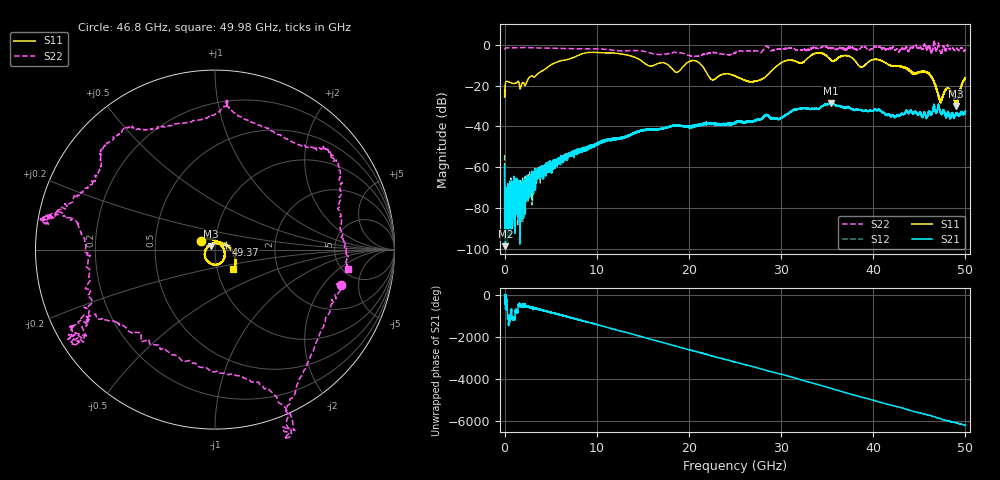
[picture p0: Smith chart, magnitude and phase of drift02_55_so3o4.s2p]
!Created with skrf (http://scikit-rf.org).
# Hz S RI R 50.0
!freq ReS11 ImS11 ReS21 ImS21 ReS12 ImS12 ReS22 ImS22
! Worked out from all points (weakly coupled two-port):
!   10001 points, 300 kHz to 50 GHz, reference 50 ohm
!   highest |S21| = -28.50 dB at 35.38 GHz (marker M1); lowest = -98.8 dB at 95.3 MHz (marker M2)
!   lowest |S11| = -29.9 dB at 48.93 GHz (marker M3), VSWR 1.07, Z = 47.6 + j1.93 ohm
!   |S11| at or under -10 dB: start of sweep to 4.956 GHz; 21.38 GHz to 29.62 GHz (8.239 GHz wide, 32.3 % of centre); 41.87 GHz to end of sweep (the widest 3 of 11)
!   |S22| runs from -5.7 to 2.2 dB; largest |S21 - S12| = 0.0035
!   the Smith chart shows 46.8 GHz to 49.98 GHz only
!   S11 on the Smith chart (normalised r, x): 46.8 GHz: 0.85, +0.09; 49.37 GHz: 1.14, +0.06; 49.98 GHz: 1.20, -0.27
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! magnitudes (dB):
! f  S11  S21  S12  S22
! 300 kHz  -22.3  -59.4  -54.0  -2.1
! 95.3 MHz  -18.7  -98.8  -75.5  -1.5
! 290.3 MHz  -17.9  -77.9  -73.8  -1.4
! 1.87 GHz  -19.1  -69.9  -69.2  -1.3
! 8.335 GHz  -4.5  -51.5  -51.9  -1.9
! 16.67 GHz  -9.1  -41.4  -41.3  -4.7
! 18.7 GHz  -13.5  -39.4  -39.5  -3.7
! 20.59 GHz  -7.7  -39.7  -40.0  -5.7
! 22.51 GHz  -17.1  -38.6  -38.4  -3.7
! 25 GHz  -15.3  -38.4  -38.1  -3.9
! 27.47 GHz  -17.6  -36.9  -36.5  -3.1
! 33.34 GHz  -4.9  -31.4  -31.4  -1.5
! 35.38 GHz  -7.3  -28.5  -28.7  -1.4
! 41.67 GHz  -9.7  -34.1  -34.1  -1.9
! 45.79 GHz  -13.6  -35.3  -35.3  -2.3
! 46.8 GHz  -20.4  -33.2  -32.9  -2.8
! 47.27 GHz  -28.1  -33.0  -32.9  -3.2
! 48.14 GHz  -21.7  -33.5  -33.2  -0.8
! 48.93 GHz  -29.9  -34.4  -34.4  -2.8
! 49.37 GHz  -23.3  -34.1  -34.3  -2.6
! 49.98 GHz  -16.5  -32.6  -32.7  -2.5
! 50 GHz  -16.3  -32.6  -33.2  -2.6
